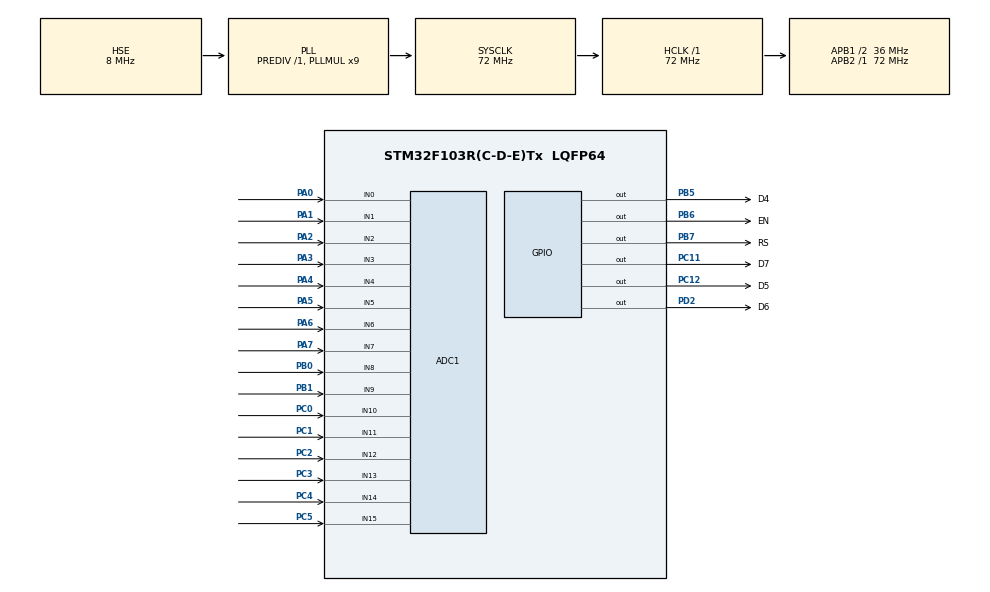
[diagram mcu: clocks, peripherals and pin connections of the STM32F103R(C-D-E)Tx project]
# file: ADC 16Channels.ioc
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ADC1.Channel-0\#ChannelRegularConversion=ADC_CHANNEL_0
ADC1.Channel-1\#ChannelRegularConversion=ADC_CHANNEL_1
ADC1.Channel-10\#ChannelRegularConversion=ADC_CHANNEL_10
ADC1.Channel-11\#ChannelRegularConversion=ADC_CHANNEL_11
ADC1.Channel-12\#ChannelRegularConversion=ADC_CHANNEL_12
ADC1.Channel-13\#ChannelRegularConversion=ADC_CHANNEL_13
ADC1.Channel-14\#ChannelRegularConversion=ADC_CHANNEL_14
ADC1.Channel-15\#ChannelRegularConversion=ADC_CHANNEL_15
ADC1.Channel-2\#ChannelRegularConversion=ADC_CHANNEL_2
ADC1.Channel-3\#ChannelRegularConversion=ADC_CHANNEL_3
ADC1.Channel-4\#ChannelRegularConversion=ADC_CHANNEL_4
ADC1.Channel-5\#ChannelRegularConversion=ADC_CHANNEL_5
ADC1.Channel-6\#ChannelRegularConversion=ADC_CHANNEL_6
ADC1.Channel-7\#ChannelRegularConversion=ADC_CHANNEL_7
ADC1.Channel-8\#ChannelRegularConversion=ADC_CHANNEL_8
ADC1.Channel-9\#ChannelRegularConversion=ADC_CHANNEL_9
ADC1.NbrOfConversion=16
ADC1.NbrOfConversionFlag=1
ADC1.Rank-0\#ChannelRegularConversion=1
ADC1.Rank-1\#ChannelRegularConversion=2
ADC1.Rank-10\#ChannelRegularConversion=11
ADC1.Rank-11\#ChannelRegularConversion=12
ADC1.Rank-12\#ChannelRegularConversion=13
ADC1.Rank-13\#ChannelRegularConversion=14
ADC1.Rank-14\#ChannelRegularConversion=15
ADC1.Rank-15\#ChannelRegularConversion=16
ADC1.Rank-2\#ChannelRegularConversion=3
ADC1.Rank-3\#ChannelRegularConversion=4
ADC1.Rank-4\#ChannelRegularConversion=5
ADC1.Rank-5\#ChannelRegularConversion=6
ADC1.Rank-6\#ChannelRegularConversion=7
ADC1.Rank-7\#ChannelRegularConversion=8
ADC1.Rank-8\#ChannelRegularConversion=9
ADC1.Rank-9\#ChannelRegularConversion=10
ADC1.SamplingTime-0\#ChannelRegularConversion=ADC_SAMPLETIME_1CYCLE_5
ADC1.SamplingTime-1\#ChannelRegularConversion=ADC_SAMPLETIME_1CYCLE_5
ADC1.SamplingTime-10\#ChannelRegularConversion=ADC_SAMPLETIME_1CYCLE_5
ADC1.SamplingTime-11\#ChannelRegularConversion=ADC_SAMPLETIME_1CYCLE_5
ADC1.SamplingTime-12\#ChannelRegularConversion=ADC_SAMPLETIME_1CYCLE_5
ADC1.SamplingTime-13\#ChannelRegularConversion=ADC_SAMPLETIME_1CYCLE_5
ADC1.SamplingTime-14\#ChannelRegularConversion=ADC_SAMPLETIME_1CYCLE_5
ADC1.SamplingTime-15\#ChannelRegularConversion=ADC_SAMPLETIME_1CYCLE_5
ADC1.SamplingTime-2\#ChannelRegularConversion=ADC_SAMPLETIME_1CYCLE_5
ADC1.SamplingTime-3\#ChannelRegularConversion=ADC_SAMPLETIME_1CYCLE_5
ADC1.SamplingTime-4\#ChannelRegularConversion=ADC_SAMPLETIME_1CYCLE_5
ADC1.SamplingTime-5\#ChannelRegularConversion=ADC_SAMPLETIME_1CYCLE_5
ADC1.SamplingTime-6\#ChannelRegularConversion=ADC_SAMPLETIME_1CYCLE_5
ADC1.SamplingTime-7\#ChannelRegularConversion=ADC_SAMPLETIME_1CYCLE_5
ADC1.SamplingTime-8\#ChannelRegularConversion=ADC_SAMPLETIME_1CYCLE_5
ADC1.SamplingTime-9\#ChannelRegularConversion=ADC_SAMPLETIME_1CYCLE_5
ADC1.master=1
Dma.ADC1.0.Direction=DMA_PERIPH_TO_MEMORY
Dma.ADC1.0.Instance=DMA1_Channel1
Dma.ADC1.0.MemDataAlignment=DMA_MDATAALIGN_HALFWORD
Dma.ADC1.0.MemInc=DMA_MINC_ENABLE
Dma.ADC1.0.Mode=DMA_CIRCULAR
Dma.ADC1.0.PeriphDataAlignment=DMA_PDATAALIGN_HALFWORD
Dma.ADC1.0.PeriphInc=DMA_PINC_DISABLE
Dma.ADC1.0.Priority=DMA_PRIORITY_LOW
Dma.Request0=ADC1
Mcu.Family=STM32F1
Mcu.Name=STM32F103R(C-D-E)Tx
Mcu.Package=LQFP64
NVIC.DMA1_Channel1_IRQn=true\:0\:0\:false\:false\:true
NVIC.PriorityGroup=NVIC_PRIORITYGROUP_4
PA0-WKUP.Signal=ADCx_IN0
PA1.Signal=ADCx_IN1
PA2.Signal=ADCx_IN2
PA3.Signal=ADCx_IN3
PA4.Signal=ADCx_IN4
PA5.Signal=ADCx_IN5
PA6.Signal=ADCx_IN6
PA7.Signal=ADCx_IN7
PB0.Signal=ADCx_IN8
PB1.Signal=ADCx_IN9
PB5.GPIO_Label=D4
PB5.Signal=GPIO_Output
PB6.GPIO_Label=EN
PB6.Signal=GPIO_Output
PB7.GPIO_Label=RS
PB7.Signal=GPIO_Output
PC0.Signal=ADCx_IN10
PC1.Signal=ADCx_IN11
PC11.GPIO_Label=D7
PC11.Signal=GPIO_Output
PC12.GPIO_Label=D5
PC12.Signal=GPIO_Output
PC2.Signal=ADCx_IN12
PC3.Signal=ADCx_IN13
PC4.Signal=ADCx_IN14
PC5.Signal=ADCx_IN15
PD0-OSC_IN.Mode=HSE-External-Oscillator
PD0-OSC_IN.Signal=RCC_OSC_IN
PD1-OSC_OUT.Mode=HSE-External-Oscillator
PD1-OSC_OUT.Signal=RCC_OSC_OUT
PD2.GPIO_Label=D6
PD2.Signal=GPIO_Output
ProjectManager.HeapSize=0x200
ProjectManager.StackSize=0x400
ProjectManager.TargetToolchain=MDK-ARM V4
RCC.ADCPresc=RCC_ADCPCLK2_DIV6
RCC.AHBFreq_Value=72000000
RCC.APB1CLKDivider=RCC_HCLK_DIV2
RCC.APB1Freq_Value=36000000
RCC.APB1TimCLKDivider=1
RCC.APB1TimFreq_Value=36000000
RCC.APB2Freq_Value=72000000
RCC.APB2TimFreq_Value=72000000
RCC.HCLKFreq_Value=72000000
RCC.HSIState=RCC_HSI_ON
RCC.PLLMUL=RCC_PLL_MUL9
RCC.PLLSourceVirtual=RCC_PLLSOURCE_HSE
RCC.SYSCLKFreq_VALUE=72000000
RCC.SYSCLKSource=RCC_SYSCLKSOURCE_PLLCLK
RCC.USBFreq_Value=72000000
SH.ADCx_IN0.0=ADC1_IN0,IN0
SH.ADCx_IN1.0=ADC1_IN1,IN1
SH.ADCx_IN10.0=ADC1_IN10,IN10
SH.ADCx_IN11.0=ADC1_IN11,IN11
SH.ADCx_IN12.0=ADC1_IN12,IN12
SH.ADCx_IN13.0=ADC1_IN13,IN13
SH.ADCx_IN14.0=ADC1_IN14,IN14
SH.ADCx_IN15.0=ADC1_IN15,IN15
SH.ADCx_IN2.0=ADC1_IN2,IN2
SH.ADCx_IN3.0=ADC1_IN3,IN3
SH.ADCx_IN4.0=ADC1_IN4,IN4
SH.ADCx_IN5.0=ADC1_IN5,IN5
SH.ADCx_IN6.0=ADC1_IN6,IN6
SH.ADCx_IN7.0=ADC1_IN7,IN7
SH.ADCx_IN8.0=ADC1_IN8,IN8
SH.ADCx_IN9.0=ADC1_IN9,IN9
board=ADC 16Channels

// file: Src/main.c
/**
  ******************************************************************************
  * File Name          : main.c
  * Description        : Main program body
  ******************************************************************************
  *
  * COPYRIGHT(c) 2016 STMicroelectronics
  *
  * Redistribution and use in source and binary forms, with or without modification,
  * are permitted provided that the following conditions are met:
  *   1. Redistributions of source code must retain the above copyright notice,
  *      this list of conditions and the following disclaimer.
  *   2. Redistributions in binary form must reproduce the above copyright notice,
  *      this list of conditions and the following disclaimer in the documentation
  *      and/or other materials provided with the distribution.
  *   3. Neither the name of STMicroelectronics nor the names of its contributors
  *      may be used to endorse or promote products derived from this software
  *      without specific prior written permission.
  *
  * THIS SOFTWARE IS PROVIDED BY THE COPYRIGHT HOLDERS AND CONTRIBUTORS "AS IS"
  * AND ANY EXPRESS OR IMPLIED WARRANTIES, INCLUDING, BUT NOT LIMITED TO, THE
  * IMPLIED WARRANTIES OF MERCHANTABILITY AND FITNESS FOR A PARTICULAR PURPOSE ARE
  * DISCLAIMED. IN NO EVENT SHALL THE COPYRIGHT HOLDER OR CONTRIBUTORS BE LIABLE
  * FOR ANY DIRECT, INDIRECT, INCIDENTAL, SPECIAL, EXEMPLARY, OR CONSEQUENTIAL
  * DAMAGES (INCLUDING, BUT NOT LIMITED TO, PROCUREMENT OF SUBSTITUTE GOODS OR
  * SERVICES; LOSS OF USE, DATA, OR PROFITS; OR BUSINESS INTERRUPTION) HOWEVER
  * CAUSED AND ON ANY THEORY OF LIABILITY, WHETHER IN CONTRACT, STRICT LIABILITY,
  * OR TORT (INCLUDING NEGLIGENCE OR OTHERWISE) ARISING IN ANY WAY OUT OF THE USE
  * OF THIS SOFTWARE, EVEN IF ADVISED OF THE POSSIBILITY OF SUCH DAMAGE.
  *
  ******************************************************************************
  */
#include "stm32f1xx_hal.h"

/* USER CODE BEGIN Includes */
#include <stdio.h>
#define GPIO_PIN_SET 1
#define GPIO_PIN_RESET 0
#define RS_Port GPIOB
#define EN_Port GPIOB
#define D4_Port GPIOB
#define D5_Port GPIOC
#define D6_Port GPIOD
#define D7_Port GPIOC
uint16_t ADC_Value[16];

unsigned char DATA0[30];
unsigned char DATA1[30];
unsigned char DATA2[30];
unsigned char DATA3[30];
/* USER CODE END Includes */

ADC_HandleTypeDef hadc1;
DMA_HandleTypeDef hdma_adc1;

/* USER CODE BEGIN PV */
/* Private variables ---------------------------------------------------------*/

/* USER CODE END PV */

void SystemClock_Config(void);
static void MX_GPIO_Init(void);
static void MX_DMA_Init(void);
static void MX_ADC1_Init(void);

/* USER CODE BEGIN PFP */
/* Private function prototypes -----------------------------------------------*/

/* USER CODE END PFP */

/* USER CODE BEGIN 0 */
void LCD_Enable()
{
HAL_GPIO_WritePin(EN_Port,EN_Pin,1);
HAL_Delay(1);
HAL_GPIO_WritePin(EN_Port,EN_Pin,0);
HAL_Delay(1);
}

void LCD_Send4Bit(unsigned char Data)
{
HAL_GPIO_WritePin(D4_Port,D4_Pin,Data&0x01);
HAL_GPIO_WritePin(D5_Port,D5_Pin,(Data>>1)&0x01);
HAL_GPIO_WritePin(D6_Port,D6_Pin,(Data>>2)&0x01);
HAL_GPIO_WritePin(D7_Port,D7_Pin,(Data>>3)&0x01);
}

void LCD_SendCommand(unsigned char command)
{
	LCD_Send4Bit(command >>4);
	LCD_Enable();
	LCD_Send4Bit(command);
	LCD_Enable();
}

void LCD_Clear()
{
 	LCD_SendCommand(0x01);
  HAL_Delay(1);
}

void LCD_Init()
{
	LCD_Send4Bit(0x00);
  HAL_GPIO_WritePin(RS_Port,RS_Pin,0);
	LCD_Send4Bit(0x03);
	LCD_Enable();
	LCD_Enable();
	LCD_Enable();
	LCD_Send4Bit(0x02);
	LCD_Enable();
	LCD_SendCommand(0x28);
	LCD_SendCommand(0x0C);
	LCD_SendCommand(0x06);
	LCD_SendCommand(0x01);
}

void LCD_Gotoxy(unsigned char x, unsigned char y)
{
unsigned char address;
if(y==0)
address=0x80;
else if(y==1)
{
address=0xc0;
}
else if(y==2)
{
address=0x94;
}
else
address=0xd4;
address+=x;
LCD_SendCommand(address);
}

void LCD_PutChar(unsigned char Data)
{
  HAL_GPIO_WritePin(RS_Port,RS_Pin,1);
 	LCD_SendCommand(Data);
  HAL_GPIO_WritePin(RS_Port,RS_Pin,0);
}

void LCD_Puts(char *s)
{
   	while (*s){
      	LCD_PutChar(*s);
     	s++;
   	}
}
/* USER CODE END 0 */

int main(void)
{

  /* MCU Configuration----------------------------------------------------------*/

  /* Reset of all peripherals, Initializes the Flash interface and the Systick. */
  HAL_Init();

  /* Configure the system clock */
  SystemClock_Config();

  /* Initialize all configured peripherals */
  MX_GPIO_Init();
  MX_DMA_Init();
  MX_ADC1_Init();

  /* USER CODE BEGIN 2 */
LCD_Init();
  /* USER CODE END 2 */

  /* Infinite loop */
  while (1)
  {
HAL_ADC_Start_DMA(&hadc1,(uint32_t*)&ADC_Value,16);
HAL_Delay(1);
HAL_ADC_Stop_DMA(&hadc1);
LCD_Gotoxy(0,0); sprintf(DATA0,"%d %d %d %d ",ADC_Value[0],ADC_Value[1],ADC_Value[2],ADC_Value[3]); LCD_Puts(DATA0);
LCD_Gotoxy(0,1); sprintf(DATA1,"%d %d %d %d ",ADC_Value[4],ADC_Value[5],ADC_Value[6],ADC_Value[7]); LCD_Puts(DATA1);
LCD_Gotoxy(0,2); sprintf(DATA2,"%d %d %d %d ",ADC_Value[8],ADC_Value[9],ADC_Value[10],ADC_Value[11]); LCD_Puts(DATA2);
LCD_Gotoxy(0,3); sprintf(DATA3,"%d %d %d %d ",ADC_Value[12],ADC_Value[13],ADC_Value[14],ADC_Value[15]); LCD_Puts(DATA3);

  }

}

/** System Clock Configuration
*/
void SystemClock_Config(void)
{

  RCC_OscInitTypeDef RCC_OscInitStruct;
  RCC_ClkInitTypeDef RCC_ClkInitStruct;
  RCC_PeriphCLKInitTypeDef PeriphClkInit;

  RCC_OscInitStruct.OscillatorType = RCC_OSCILLATORTYPE_HSE;
  RCC_OscInitStruct.HSEState = RCC_HSE_ON;
  RCC_OscInitStruct.HSEPredivValue = RCC_HSE_PREDIV_DIV1;
  RCC_OscInitStruct.PLL.PLLState = RCC_PLL_ON;
  RCC_OscInitStruct.PLL.PLLSource = RCC_PLLSOURCE_HSE;
  RCC_OscInitStruct.PLL.PLLMUL = RCC_PLL_MUL9;
  HAL_RCC_OscConfig(&RCC_OscInitStruct);

  RCC_ClkInitStruct.ClockType = RCC_CLOCKTYPE_HCLK|RCC_CLOCKTYPE_SYSCLK
                              |RCC_CLOCKTYPE_PCLK1|RCC_CLOCKTYPE_PCLK2;
  RCC_ClkInitStruct.SYSCLKSource = RCC_SYSCLKSOURCE_PLLCLK;
  RCC_ClkInitStruct.AHBCLKDivider = RCC_SYSCLK_DIV1;
  RCC_ClkInitStruct.APB1CLKDivider = RCC_HCLK_DIV2;
  RCC_ClkInitStruct.APB2CLKDivider = RCC_HCLK_DIV1;
  HAL_RCC_ClockConfig(&RCC_ClkInitStruct, FLASH_LATENCY_2);

  PeriphClkInit.PeriphClockSelection = RCC_PERIPHCLK_ADC;
  PeriphClkInit.AdcClockSelection = RCC_ADCPCLK2_DIV6;
  HAL_RCCEx_PeriphCLKConfig(&PeriphClkInit);

  HAL_SYSTICK_Config(HAL_RCC_GetHCLKFreq()/1000);

  HAL_SYSTICK_CLKSourceConfig(SYSTICK_CLKSOURCE_HCLK);

  /* SysTick_IRQn interrupt configuration */
  HAL_NVIC_SetPriority(SysTick_IRQn, 0, 0);
}

/* ADC1 init function */
void MX_ADC1_Init(void)
{

  ADC_ChannelConfTypeDef sConfig;

    /**Common config
    */
  hadc1.Instance = ADC1;
  hadc1.Init.ScanConvMode = ADC_SCAN_ENABLE;
  hadc1.Init.ContinuousConvMode = DISABLE;
  hadc1.Init.DiscontinuousConvMode = DISABLE;
  hadc1.Init.ExternalTrigConv = ADC_SOFTWARE_START;
  hadc1.Init.DataAlign = ADC_DATAALIGN_RIGHT;
  hadc1.Init.NbrOfConversion = 16;
  HAL_ADC_Init(&hadc1);

    /**Configure Regular Channel
    */
  sConfig.Channel = ADC_CHANNEL_0;
  sConfig.Rank = 1;
  sConfig.SamplingTime = ADC_SAMPLETIME_1CYCLE_5;
  HAL_ADC_ConfigChannel(&hadc1, &sConfig);

    /**Configure Regular Channel
    */
  sConfig.Channel = ADC_CHANNEL_1;
  sConfig.Rank = 2;
  HAL_ADC_ConfigChannel(&hadc1, &sConfig);

    /**Configure Regular Channel
    */
  sConfig.Channel = ADC_CHANNEL_2;
  sConfig.Rank = 3;
  HAL_ADC_ConfigChannel(&hadc1, &sConfig);

    /**Configure Regular Channel
    */
  sConfig.Channel = ADC_CHANNEL_3;
  sConfig.Rank = 4;
  HAL_ADC_ConfigChannel(&hadc1, &sConfig);

    /**Configure Regular Channel
    */
  sConfig.Channel = ADC_CHANNEL_4;
  sConfig.Rank = 5;
  HAL_ADC_ConfigChannel(&hadc1, &sConfig);

    /**Configure Regular Channel
    */
  sConfig.Channel = ADC_CHANNEL_5;
  sConfig.Rank = 6;
  HAL_ADC_ConfigChannel(&hadc1, &sConfig);

    /**Configure Regular Channel
    */
  sConfig.Channel = ADC_CHANNEL_6;
  sConfig.Rank = 7;
  HAL_ADC_ConfigChannel(&hadc1, &sConfig);

    /**Configure Regular Channel
    */
  sConfig.Channel = ADC_CHANNEL_7;
  sConfig.Rank = 8;
  HAL_ADC_ConfigChannel(&hadc1, &sConfig);

    /**Configure Regular Channel
    */
  sConfig.Channel = ADC_CHANNEL_8;
  sConfig.Rank = 9;
  HAL_ADC_ConfigChannel(&hadc1, &sConfig);

    /**Configure Regular Channel
    */
  sConfig.Channel = ADC_CHANNEL_9;
  sConfig.Rank = 10;
  HAL_ADC_ConfigChannel(&hadc1, &sConfig);

    /**Configure Regular Channel
    */
  sConfig.Channel = ADC_CHANNEL_10;
  sConfig.Rank = 11;
  HAL_ADC_ConfigChannel(&hadc1, &sConfig);

    /**Configure Regular Channel
    */
  sConfig.Channel = ADC_CHANNEL_11;
  sConfig.Rank = 12;
  HAL_ADC_ConfigChannel(&hadc1, &sConfig);

    /**Configure Regular Channel
    */
  sConfig.Channel = ADC_CHANNEL_12;
  sConfig.Rank = 13;
  HAL_ADC_ConfigChannel(&hadc1, &sConfig);

    /**Configure Regular Channel
    */
  sConfig.Channel = ADC_CHANNEL_13;
  sConfig.Rank = 14;
  HAL_ADC_ConfigChannel(&hadc1, &sConfig);

    /**Configure Regular Channel
    */
  sConfig.Channel = ADC_CHANNEL_14;
  sConfig.Rank = 15;
  HAL_ADC_ConfigChannel(&hadc1, &sConfig);

    /**Configure Regular Channel
    */
  sConfig.Channel = ADC_CHANNEL_15;
  sConfig.Rank = 16;
  HAL_ADC_ConfigChannel(&hadc1, &sConfig);

}

void MX_DMA_Init(void)
{
  /* DMA controller clock enable */
  __HAL_RCC_DMA1_CLK_ENABLE();

  /* DMA interrupt init */
  /* DMA1_Channel1_IRQn interrupt configuration */
  HAL_NVIC_SetPriority(DMA1_Channel1_IRQn, 0, 0);
  HAL_NVIC_EnableIRQ(DMA1_Channel1_IRQn);

}

/** Configure pins as
        * Analog
        * Input
        * Output
        * EVENT_OUT
        * EXTI
*/
void MX_GPIO_Init(void)
{

  GPIO_InitTypeDef GPIO_InitStruct;

  /* GPIO Ports Clock Enable */
  __HAL_RCC_GPIOD_CLK_ENABLE();
  __HAL_RCC_GPIOC_CLK_ENABLE();
  __HAL_RCC_GPIOA_CLK_ENABLE();
  __HAL_RCC_GPIOB_CLK_ENABLE();

  /*Configure GPIO pin Output Level */
  HAL_GPIO_WritePin(GPIOC, D7_Pin|D5_Pin, GPIO_PIN_RESET);

  /*Configure GPIO pin Output Level */
  HAL_GPIO_WritePin(D6_GPIO_Port, D6_Pin, GPIO_PIN_RESET);

  /*Configure GPIO pin Output Level */
  HAL_GPIO_WritePin(GPIOB, D4_Pin|EN_Pin|RS_Pin, GPIO_PIN_RESET);

  /*Configure GPIO pins : D7_Pin D5_Pin */
  GPIO_InitStruct.Pin = D7_Pin|D5_Pin;
  GPIO_InitStruct.Mode = GPIO_MODE_OUTPUT_PP;
  GPIO_InitStruct.Speed = GPIO_SPEED_FREQ_LOW;
  HAL_GPIO_Init(GPIOC, &GPIO_InitStruct);

  /*Configure GPIO pin : D6_Pin */
  GPIO_InitStruct.Pin = D6_Pin;
  GPIO_InitStruct.Mode = GPIO_MODE_OUTPUT_PP;
  GPIO_InitStruct.Speed = GPIO_SPEED_FREQ_LOW;
  HAL_GPIO_Init(D6_GPIO_Port, &GPIO_InitStruct);

  /*Configure GPIO pins : D4_Pin EN_Pin RS_Pin */
  GPIO_InitStruct.Pin = D4_Pin|EN_Pin|RS_Pin;
  GPIO_InitStruct.Mode = GPIO_MODE_OUTPUT_PP;
  GPIO_InitStruct.Speed = GPIO_SPEED_FREQ_LOW;
  HAL_GPIO_Init(GPIOB, &GPIO_InitStruct);

}

/************************ (C) COPYRIGHT STMicroelectronics *****END OF FILE****/
